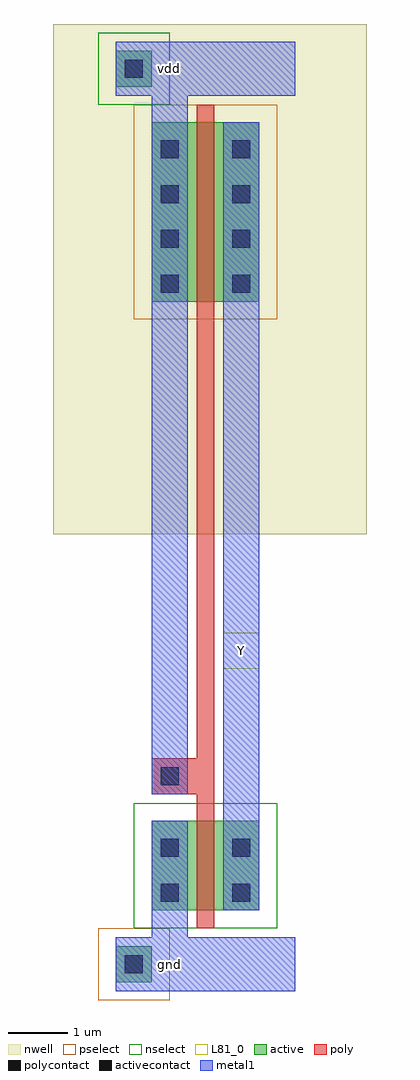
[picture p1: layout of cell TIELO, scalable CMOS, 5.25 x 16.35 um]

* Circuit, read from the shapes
.subckt TIELO Y gnd vdd
M1 Y vdd gnd gnd nfet w=1.5u l=0.3u
M2 Y vdd vdd vdd pfet w=3u l=0.3u
.ends

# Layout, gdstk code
import gdstk
lib = gdstk.Library(unit=1e-6, precision=1e-09)
def R(c, l, rs):  # rectangles x0, y0, x1, y1
    for r in rs: c.add(gdstk.rectangle(r[:2], r[2:], *l))
def A(c, l, x, y, w, h, nx, ny, dx, dy):  # array of equal rectangles
    R(c, l, [(x+i*dx, y+j*dy, x+i*dx+w, y+j*dy+h) for i in range(nx) for j in range(ny)])
nwell = (42, 0)
active = (43, 0)
pselect = (44, 0)
nselect = (45, 0)
poly = (46, 0)
polycontact = (47, 0)
activecontact = (48, 0)
metal1 = (49, 0)
L81_0 = (81, 0)

tielo = lib.new_cell('TIELO')
R(tielo, nwell, [(-1.35,7.2,3.9,15.75)])
R(tielo, active, [(-0.3,-0.3,0.3,0.3), (0.3,0.9,2.1,2.4), (0.3,11.1,2.1,14.1), (-0.3,14.7,0.3,15.3)])
R(tielo, pselect, [(-0.6,-0.6,0.6,0.6), (0,10.8,2.4,14.4)])
R(tielo, nselect, [(0,0.6,2.4,2.7), (-0.6,14.4,0.6,15.6)])
R(tielo, poly, [(1.05,0.6,1.35,2.85), (0.3,2.85,1.35,3.45), (1.05,3.45,1.35,14.4)])
R(tielo, polycontact, [(0.45,3,0.75,3.3)])
A(tielo, activecontact, 0.45, 11.25, 0.3, 0.3, 1, 4, 0, 0.75)
A(tielo, activecontact, 1.65, 11.25, 0.3, 0.3, 1, 4, 0, 0.75)
R(tielo, activecontact, [(-0.15,-0.15,0.15,0.15), (0.45,1.05,0.75,1.35), (1.65,1.05,1.95,1.35), (0.45,1.8,0.75,2.1), (1.65,1.8,1.95,2.1), (-0.15,14.85,0.15,15.15)])
R(tielo, metal1, [(-0.3,-0.45,2.7,0.45), (0.3,0.45,0.9,2.4), (1.5,0.9,2.1,14.1), (0.3,2.85,0.9,4.05), (0.3,4.05,0.9,11.1), (0.3,11.1,0.9,14.55), (-0.3,14.55,2.7,15.45)])
R(tielo, L81_0, [(1.5,4.95,2.1,5.55)])
tielo.add(gdstk.Label('Y', (1.8,5.25), layer=109, texttype=0))
tielo.add(gdstk.Label('vdd', (0.6,15), layer=109, texttype=0))
tielo.add(gdstk.Label('gnd', (0.6,0), layer=109, texttype=0))

lib.write_gds('TIELO.gds')
